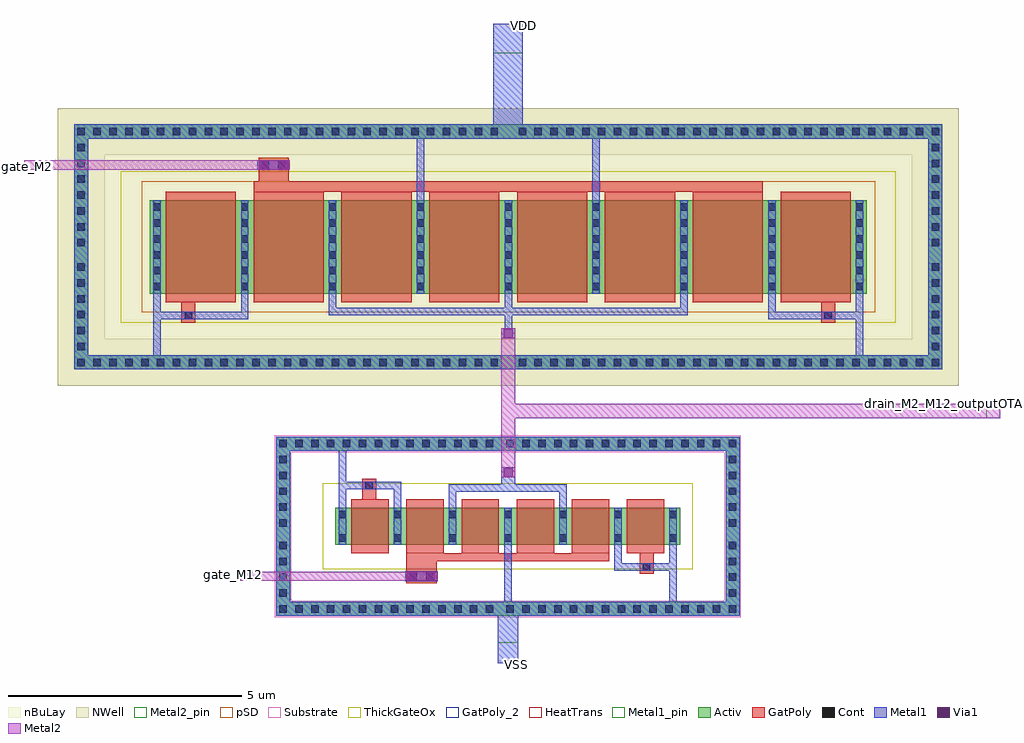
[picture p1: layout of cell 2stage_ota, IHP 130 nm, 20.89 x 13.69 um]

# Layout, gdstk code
from math import pi, radians
import gdstk
lib = gdstk.Library(unit=1e-6, precision=5e-09)
def R(c, l, rs):  # rectangles x0, y0, x1, y1
    for r in rs: c.add(gdstk.rectangle(r[:2], r[2:], *l))
def A(c, l, x, y, w, h, nx, ny, dx, dy):  # array of equal rectangles
    R(c, l, [(x+i*dx, y+j*dy, x+i*dx+w, y+j*dy+h) for i in range(nx) for j in range(ny)])
def P(c, l, *ps):  # polygons
    for p in ps: c.add(gdstk.Polygon(p, *l))
Activ = (1, 0)
GatPoly = (5, 0)
GatPoly_2 = (5, 2)
Cont = (6, 0)
Metal1 = (8, 0)
Metal1_pin = (8, 2)
Metal2 = (10, 0)
Metal2_pin = (10, 2)
pSD = (14, 0)
Via1 = (19, 0)
NWell = (31, 0)
nBuLay = (32, 0)
Substrate = (40, 0)
ThickGateOx = (44, 0)
HeatTrans = (51, 0)

pmoshv_5 = lib.new_cell('pmosHV$5')
A(pmoshv_5, Activ, 0, 0, 0.3, 0.3, 9, 1, 1.88, 0)
R(pmoshv_5, Activ, [(-1.62,-1.32,-1.32,3.32), (16.66,-1.32,16.96,3.32), (0,0,15.34,2), (-1.62,3.32,16.96,3.62)])
P(pmoshv_5, Activ, [(-1.62,-1.62),(-1.62,3.32),(-1.32,3.32),(-1.32,-1.32),(16.66,-1.32),(16.66,3.32),(-1.62,3.32),(-1.62,3.62),(16.96,3.62),(16.96,-1.62)])
A(pmoshv_5, GatPoly, 0.34, -0.18, 1.5, 2.36, 8, 1, 1.88, 0)
R(pmoshv_5, GatPoly_2, [(0.34,-0.18,1.84,2.18)])
A(pmoshv_5, Cont, -1.55, -1.55, 0.16, 0.16, 27, 2, 0.34, 4.94)
A(pmoshv_5, Cont, 7.89, -1.55, 0.16, 0.16, 27, 2, 0.34, 4.94)
A(pmoshv_5, Cont, -1.55, -1.21, 0.16, 0.16, 1, 6, 0, 0.34)
A(pmoshv_5, Cont, 16.73, -1.21, 0.16, 0.16, 1, 6, 0, 0.34)
A(pmoshv_5, Cont, 0.07, 0.07, 0.16, 0.16, 9, 6, 1.88, 0.34)
A(pmoshv_5, Cont, -1.55, 1.01, 0.16, 0.16, 1, 7, 0, 0.34)
A(pmoshv_5, Cont, 16.73, 1.01, 0.16, 0.16, 1, 7, 0, 0.34)
A(pmoshv_5, Metal1, 0.07, 0, 0.16, 2, 9, 1, 1.88, 0)
R(pmoshv_5, Metal1, [(-1.62,-1.62,16.96,-1.32), (-1.62,-1.32,-1.32,3.32), (16.66,-1.32,16.96,3.32), (-1.62,3.32,16.96,3.62)])
R(pmoshv_5, Metal1_pin, [(0.07,0,0.23,2), (1.95,0,2.11,2)])
R(pmoshv_5, pSD, [(-0.18,-0.4,15.52,2.4)])
R(pmoshv_5, NWell, [(-1.97,-1.97,17.31,3.97), (-0.62,-0.62,15.96,2.62)])
R(pmoshv_5, nBuLay, [(-1.97,-0.97,-0.97,2.97), (16.31,-0.97,17.31,2.97), (-1.97,2.97,17.31,3.97)])
P(pmoshv_5, nBuLay, [(-1.97,-1.97),(-1.97,2.97),(-0.97,2.97),(-0.97,-0.97),(16.31,-0.97),(16.31,2.97),(-1.97,2.97),(-1.97,3.97),(17.31,3.97),(17.31,-1.97)])
R(pmoshv_5, Substrate, [(15.04,0,15.34,0.3)])
R(pmoshv_5, ThickGateOx, [(-0.62,-0.62,15.96,2.62)])
A(pmoshv_5, HeatTrans, 0.34, -0.18, 1.5, 2.36, 8, 1, 1.88, 0)
pmoshv_5.add(gdstk.Label('pmosHV', (1.09,1), layer=63, texttype=0))
pmoshv_5.add(gdstk.Label('well', (7.67,-1.47), layer=63, texttype=0))
pmoshv_5.add(gdstk.Label('pmos', (1.09,1), layer=51, texttype=0))
pmoshv_5.add(gdstk.Label('pmos', (2.97,1), layer=51, texttype=0))
pmoshv_5.add(gdstk.Label('pmos', (4.85,1), layer=51, texttype=0))
pmoshv_5.add(gdstk.Label('pmos', (6.73,1), layer=51, texttype=0))
pmoshv_5.add(gdstk.Label('pmos', (8.61,1), layer=51, texttype=0))
pmoshv_5.add(gdstk.Label('pmos', (10.49,1), layer=51, texttype=0))
pmoshv_5.add(gdstk.Label('pmos', (12.37,1), layer=51, texttype=0))
pmoshv_5.add(gdstk.Label('pmos', (14.25,1), layer=51, texttype=0))

via_stack_5 = lib.new_cell('via_stack$5')
R(via_stack_5, GatPoly, [(-0.15,-0.15,0.15,0.15)])
R(via_stack_5, Cont, [(-0.08,-0.08,0.08,0.08)])
R(via_stack_5, Metal1, [(-0.13,-0.08,0.13,0.08)])

via_stack = lib.new_cell('via_stack')
R(via_stack, Metal1, [(-0.145,-0.105,0.145,0.105)])
R(via_stack, Metal2, [(-0.145,-0.1,0.145,0.1)])
R(via_stack, Via1, [(-0.095,-0.095,0.095,0.095)])

via_stack_1 = lib.new_cell('via_stack$1')
R(via_stack_1, GatPoly, [(-0.15,-0.32,0.15,0.32)])
R(via_stack_1, Cont, [(-0.08,-0.25,0.08,-0.09), (-0.08,0.09,0.08,0.25)])
R(via_stack_1, Metal1, [(-0.105,-0.35,0.105,0.35)])
R(via_stack_1, Metal2, [(-0.1,-0.35,0.1,0.35)])
R(via_stack_1, Via1, [(-0.095,-0.3,0.095,-0.11), (-0.095,0.11,0.095,0.3)])

nmoshv_9 = lib.new_cell('nmosHV$9')
A(nmoshv_9, Activ, 0, 0, 0.3, 0.3, 7, 1, 1.18, 0)
R(nmoshv_9, Activ, [(-1.27,-1.22,-0.97,2.02), (8.35,-1.22,8.65,2.02), (0,0,7.38,0.8), (-1.27,2.02,8.65,2.32)])
P(nmoshv_9, Activ, [(-1.27,-1.52),(-1.27,2.02),(-0.97,2.02),(-0.97,-1.22),(8.35,-1.22),(8.35,2.02),(-1.27,2.02),(-1.27,2.32),(8.65,2.32),(8.65,-1.52)])
A(nmoshv_9, GatPoly, 0.34, -0.18, 0.8, 1.16, 6, 1, 1.18, 0)
R(nmoshv_9, GatPoly_2, [(0.34,-0.18,1.14,0.98)])
A(nmoshv_9, Cont, -1.2, -1.45, 0.16, 0.16, 14, 2, 0.34, 3.54)
A(nmoshv_9, Cont, 3.66, -1.45, 0.16, 0.16, 15, 2, 0.34, 3.54)
A(nmoshv_9, Cont, -1.2, -1.11, 0.16, 0.16, 1, 4, 0, 0.34)
A(nmoshv_9, Cont, 8.42, -1.11, 0.16, 0.16, 1, 4, 0, 0.34)
A(nmoshv_9, Cont, 0.07, 0.07, 0.16, 0.16, 7, 2, 1.18, 0.5)
A(nmoshv_9, Cont, -1.2, 0.39, 0.16, 0.16, 1, 5, 0, 0.34)
A(nmoshv_9, Cont, 8.42, 0.39, 0.16, 0.16, 1, 5, 0, 0.34)
A(nmoshv_9, Metal1, 0.07, 0, 0.16, 0.8, 7, 1, 1.18, 0)
R(nmoshv_9, Metal1, [(-1.27,-1.52,8.65,-1.22), (-1.27,-1.22,-0.97,2.02), (8.35,-1.22,8.65,2.02), (-1.27,2.02,8.65,2.32)])
R(nmoshv_9, Metal1_pin, [(0.07,0,0.23,0.8), (1.25,0,1.41,0.8)])
R(nmoshv_9, pSD, [(-1.3,-1.19,-0.94,1.99), (8.32,-1.19,8.68,1.99), (-1.3,1.99,8.68,2.35)])
P(nmoshv_9, pSD, [(-1.3,-1.55),(-1.3,1.99),(-0.94,1.99),(-0.94,-1.19),(8.32,-1.19),(8.32,1.99),(-1.3,1.99),(-1.3,2.35),(8.68,2.35),(8.68,-1.55)])
R(nmoshv_9, Substrate, [(-1.3,-1.19,-0.94,1.99), (8.32,-1.19,8.68,1.99), (-1.3,1.99,8.68,2.35)])
P(nmoshv_9, Substrate, [(-1.3,-1.55),(-1.3,1.99),(-0.94,1.99),(-0.94,-1.19),(8.32,-1.19),(8.32,1.99),(-1.3,1.99),(-1.3,2.35),(8.68,2.35),(8.68,-1.55)])
R(nmoshv_9, ThickGateOx, [(-0.27,-0.52,7.65,1.32)])
A(nmoshv_9, HeatTrans, 0.34, -0.18, 0.8, 1.16, 6, 1, 1.18, 0)
nmoshv_9.add(gdstk.Label('nmosHV', (0.74,0.4), layer=63, texttype=0))
nmoshv_9.add(gdstk.Label('sub!', (3.69,-1.37), layer=63, texttype=0))
nmoshv_9.add(gdstk.Label('nmosHV', (0.74,0.4), layer=51, texttype=0))
nmoshv_9.add(gdstk.Label('nmosHV', (1.92,0.4), layer=51, texttype=0))
nmoshv_9.add(gdstk.Label('nmosHV', (3.1,0.4), layer=51, texttype=0))
nmoshv_9.add(gdstk.Label('nmosHV', (4.28,0.4), layer=51, texttype=0))
nmoshv_9.add(gdstk.Label('nmosHV', (5.46,0.4), layer=51, texttype=0))
nmoshv_9.add(gdstk.Label('nmosHV', (6.64,0.4), layer=51, texttype=0))

c_2stage_ota = lib.new_cell('2stage_ota')
R(c_2stage_ota, GatPoly, [(5.11,-5.54,5.755,-4.72), (10.1,-5.34,10.4,-4.72), (5.11,-5.07,9.45,-4.9), (4.16,-3.92,4.46,-3.3), (0.295,0.04,0.595,0.66), (0.295,0.04,0.595,0.66), (13.985,0.04,14.285,0.66), (13.985,0.04,14.285,0.66), (1.84,2.84,12.74,3.06), (1.945,2.84,2.59,3.565)])
R(c_2stage_ota, Metal1, [(7.065,-7.25,7.5,-5.94), (7.2,-6.24,7.36,-4.49), (10.74,-6.24,10.9,-5.11), (9.56,-5.27,9.72,-4.49), (9.56,-5.27,10.9,-5.11), (10.74,-5.27,10.9,-4.49), (3.66,-4.15,3.82,-3.37), (4.84,-4.15,5,-3.37), (8.38,-4.15,8.54,-3.425), (6.02,-4.14,6.18,-3.425), (6.02,-3.585,8.54,-3.425), (7.145,-3.585,7.435,-3.06), (3.66,-3.53,5,-3.37), (3.66,-3.53,3.82,-2.4), (-0.31,-0.96,-0.15,0.27), (14.73,-0.96,14.89,0.27), (7.145,-0.29,7.435,-0.08), (7.21,-0.29,7.37,0.89), (-0.31,0.11,0.575,0.27), (-0.31,0.11,0.575,0.27), (-0.31,0.11,-0.15,0.89), (-0.31,0.11,-0.15,0.89), (0.315,0.11,1.73,0.27), (1.57,0.11,1.73,0.89), (12.85,0.11,13.01,0.89), (12.85,0.11,14.265,0.27), (14.005,0.11,14.89,0.27), (14.005,0.11,14.89,0.27), (14.73,0.11,14.89,0.89), (14.73,0.11,14.89,0.89), (3.45,0.2,3.61,0.89), (3.45,0.2,11.13,0.36), (10.97,0.2,11.13,0.89), (5.33,2.43,5.49,4.28), (9.09,2.43,9.25,4.28), (6.965,3.98,7.605,6.435)])
R(c_2stage_ota, Metal1_pin, [(7.065,-7.25,7.5,-6.805), (6.965,5.805,7.605,6.435)])
R(c_2stage_ota, Metal2, [(1.55,-5.49,5.78,-5.29), (7.145,-3.265,7.435,-1.695), (7.145,-2.005,7.435,-0.085), (7.145,-2.005,17.815,-1.695), (-3.075,3.315,2.615,3.515)])
R(c_2stage_ota, Metal2_pin, [(1.55,-5.49,1.81,-5.29), (17.525,-2.005,17.815,-1.695), (-3.075,3.315,-2.815,3.515)])
c_2stage_ota.add(gdstk.Reference(pmoshv_5, (-0.38,0.66)))
c_2stage_ota.add(gdstk.Reference(via_stack_5, (0.445,0.19), rotation=pi, x_reflection=True))
c_2stage_ota.add(gdstk.Reference(via_stack_5, (0.445,0.19), rotation=pi, x_reflection=True))
c_2stage_ota.add(gdstk.Reference(via_stack_5, (14.135,0.19)))
c_2stage_ota.add(gdstk.Reference(via_stack_5, (14.135,0.19)))
c_2stage_ota.add(gdstk.Reference(via_stack, (7.29,-0.185), rotation=pi))
c_2stage_ota.add(gdstk.Reference(via_stack_1, (2.265,3.415), rotation=3*pi/2))
c_2stage_ota.add(gdstk.Reference(nmoshv_9, (3.59,-4.72)))
c_2stage_ota.add(gdstk.Reference(via_stack_1, (5.43,-5.39), rotation=pi/2, x_reflection=True))
c_2stage_ota.add(gdstk.Reference(via_stack_5, (4.31,-3.45), x_reflection=True))
c_2stage_ota.add(gdstk.Reference(via_stack_5, (10.25,-5.19), rotation=pi, x_reflection=True))
c_2stage_ota.add(gdstk.Reference(via_stack, (7.29,-3.165), x_reflection=True))
c_2stage_ota.add(gdstk.Label('VDD', (7.615,6.4), layer=8, texttype=0))
c_2stage_ota.add(gdstk.Label('VSS', (7.475,-7.27), layer=8, texttype=0))
c_2stage_ota.add(gdstk.Label('gate_M2', (-3.22,3.375), layer=10, texttype=0))
c_2stage_ota.add(gdstk.Label('gate_M12', (1.405,-5.35), layer=10, texttype=0))
c_2stage_ota.add(gdstk.Label('drain_M2_M12_outputOTA', (17.695,-1.685), layer=10, texttype=0))

lib.write_gds('2stage_ota.gds')
